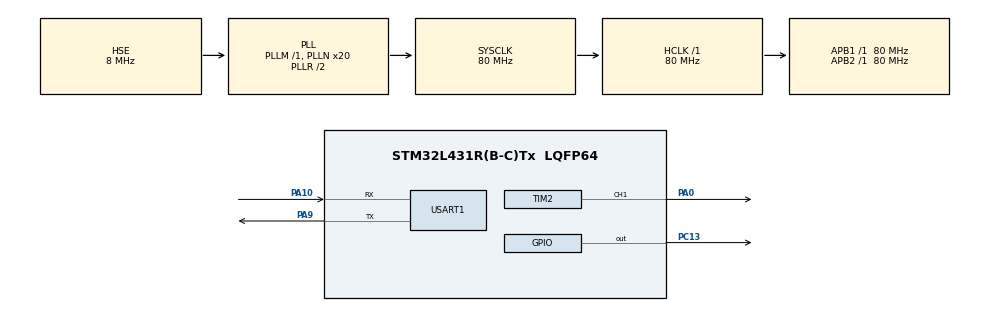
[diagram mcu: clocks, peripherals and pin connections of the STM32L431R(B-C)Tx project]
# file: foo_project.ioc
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IWDG.Prescaler=IWDG_PRESCALER_256
Mcu.Family=STM32L4
Mcu.Name=STM32L431R(B-C)Tx
Mcu.Package=LQFP64
NVIC.PriorityGroup=NVIC_PRIORITYGROUP_4
NVIC.USART1_IRQn=true\:1\:0\:true\:false\:true\:true\:true\:true
PA0.Signal=S_TIM2_CH1
PA10.Mode=Asynchronous
PA10.Signal=USART1_RX
PA13\ (JTMS-SWDIO).Mode=Serial_Wire
PA13\ (JTMS-SWDIO).Signal=SYS_JTMS-SWDIO
PA14\ (JTCK-SWCLK).Mode=Serial_Wire
PA14\ (JTCK-SWCLK).Signal=SYS_JTCK-SWCLK
PA9.Mode=Asynchronous
PA9.Signal=USART1_TX
PC13.Signal=GPIO_Output
ProjectManager.HeapSize=0x200
ProjectManager.StackSize=0x400
ProjectManager.TargetToolchain=STM32CubeIDE
RCC.ADCFreq_Value=64000000
RCC.AHBFreq_Value=80000000
RCC.APB1Freq_Value=80000000
RCC.APB1TimFreq_Value=80000000
RCC.APB2Freq_Value=80000000
RCC.APB2TimFreq_Value=80000000
RCC.CortexFreq_Value=80000000
RCC.HCLKFreq_Value=80000000
RCC.HSE_VALUE=8000000
RCC.HSI48_VALUE=48000000
RCC.HSI_VALUE=16000000
RCC.LSE_VALUE=32768
RCC.MSIAutoCalibration-AdvancedSettings=DISABLED
RCC.MSI_VALUE=4000000
RCC.PLLN=10
RCC.PLLSourceVirtual=RCC_PLLSOURCE_HSI
RCC.SYSCLKFreq_VALUE=80000000
RCC.SYSCLKSource=RCC_SYSCLKSOURCE_PLLCLK
RCC.VCOOutputFreq_Value=160000000
SH.S_TIM2_CH1.0=TIM2_CH1,PWM Generation1 CH1
TIM2.Channel-PWM\ Generation1\ CH1=TIM_CHANNEL_1
TIM2.CounterMode=TIM_COUNTERMODE_UP
TIM2.Period=999
TIM2.Prescaler=1
USART1.VirtualMode-Asynchronous=VM_ASYNC
VP_IWDG_VS_IWDG.Mode=IWDG_Activate
board=custom

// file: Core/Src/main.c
/* USER CODE BEGIN Header */
/**
 ******************************************************************************
 * @file           : main.c
 * @brief          : Main program body
 ******************************************************************************
 * @attention
 *
 * Copyright (c) 2024 STMicroelectronics.
 * All rights reserved.
 *
 * This software is licensed under terms that can be found in the LICENSE file
 * in the root directory of this software component.
 * If no LICENSE file comes with this software, it is provided AS-IS.
 *
 ******************************************************************************
 */
/* USER CODE END Header */
#include "main.h"

/* USER CODE BEGIN Includes */
#include "foo.h"
#include <string.h>
#include <stdlib.h>
#include "wdt.h"
#include "serial.h"
#include "task_list.h"
/* USER CODE END Includes */

/* USER CODE BEGIN PD */
#define HW_VERSION 	0x7d2
#define FW_VERSION 	0x12
#define PROT_VER	0x1000
#define WAIT_TOFF	(0x3E8 * 600)
#define FRAME_MAX_SIZE 2062
/* USER CODE END PD */

IWDG_HandleTypeDef hiwdg;

TIM_HandleTypeDef htim2;

UART_HandleTypeDef huart1;

/* USER CODE BEGIN PV */
static struct foo_device dev;
static struct task_queue serial_queue;
/* USER CODE END PV */

void SystemClock_Config(void);
static void MX_GPIO_Init(void);
static void MX_USART1_UART_Init(void);
static void MX_IWDG_Init(void);
static void MX_TIM2_Init(void);

/* USER CODE BEGIN 0 */

void uart_receive(struct serdev_device *dev, u8 *buf, u32 len) {
	struct task_struct *task = (struct task_struct *)buf;
	put_task_to_queue(&serial_queue, *task);
	serial_start_receiving(dev);
}

/* USER CODE END 0 */

int main(void)
{

  /* USER CODE BEGIN 1 */
	SystemInit();
	dev.serial.bus = &huart1;
	dev.serial.receive_buf = uart_receive;
	dev.button_trigger = 1;
	dev.firmware_version = FW_VERSION;
	dev.hardware_version = HW_VERSION;
	dev.protocol_version = PROT_VER;
	dev.watting_time_off = WAIT_TOFF;
	dev.max_led_current = 1000;
	dev.led_current = 0;
	get_serial_number(&dev);
  /* USER CODE END 1 */

  /* MCU Configuration--------------------------------------------------------*/

  /* Reset of all peripherals, Initializes the Flash interface and the Systick. */
  HAL_Init();

  /* Configure the system clock */
  SystemClock_Config();

  /* Initialize all configured peripherals */
  MX_GPIO_Init();
  MX_USART1_UART_Init();
  MX_IWDG_Init();
  MX_TIM2_Init();
  /* USER CODE BEGIN 2 */
  init_queue(&serial_queue, 5);
  serdev_device_register(&dev.serial);
  serial_start_receiving(&dev.serial);
	HAL_GPIO_WritePin(GPIOC, GPIO_PIN_13, GPIO_PIN_SET);
	watchdog_set_timeout(&hiwdg, TIMEOUT_16_SEC);
	pwm_init(&dev.led, &htim2, TIM_CHANNEL_1);

	pwm_set_frequency(&dev.led, 2000);
//	pwm_set_dutycycle(&dev.led, 1.24);

  /* USER CODE END 2 */

  /* Infinite loop */
	while (1) {

    /* USER CODE BEGIN 3 */
		if (!queue_is_empty(&serial_queue)) {
			handle_request(&dev, get_new_task(&serial_queue).buf);
		}
		ping_to_watchdog(&hiwdg);
//		HAL_GPIO_TogglePin(GPIOC, GPIO_PIN_13);
//		HAL_Delay(500);
	}
  /* USER CODE END 3 */
}

void SystemClock_Config(void)
{
  RCC_OscInitTypeDef RCC_OscInitStruct = {0};
  RCC_ClkInitTypeDef RCC_ClkInitStruct = {0};

  /** Configure the main internal regulator output voltage
  */
  if (HAL_PWREx_ControlVoltageScaling(PWR_REGULATOR_VOLTAGE_SCALE1) != HAL_OK)
  {
    Error_Handler();
  }

  /** Initializes the RCC Oscillators according to the specified parameters
  * in the RCC_OscInitTypeDef structure.
  */
  RCC_OscInitStruct.OscillatorType = RCC_OSCILLATORTYPE_LSI|RCC_OSCILLATORTYPE_HSE;
  RCC_OscInitStruct.HSEState = RCC_HSE_ON;
  RCC_OscInitStruct.LSIState = RCC_LSI_ON;
  RCC_OscInitStruct.PLL.PLLState = RCC_PLL_ON;
  RCC_OscInitStruct.PLL.PLLSource = RCC_PLLSOURCE_HSE;
  RCC_OscInitStruct.PLL.PLLM = 1;
  RCC_OscInitStruct.PLL.PLLN = 20;
  RCC_OscInitStruct.PLL.PLLP = RCC_PLLP_DIV7;
  RCC_OscInitStruct.PLL.PLLQ = RCC_PLLQ_DIV2;
  RCC_OscInitStruct.PLL.PLLR = RCC_PLLR_DIV2;
  if (HAL_RCC_OscConfig(&RCC_OscInitStruct) != HAL_OK)
  {
    Error_Handler();
  }

  /** Initializes the CPU, AHB and APB buses clocks
  */
  RCC_ClkInitStruct.ClockType = RCC_CLOCKTYPE_HCLK|RCC_CLOCKTYPE_SYSCLK
                              |RCC_CLOCKTYPE_PCLK1|RCC_CLOCKTYPE_PCLK2;
  RCC_ClkInitStruct.SYSCLKSource = RCC_SYSCLKSOURCE_PLLCLK;
  RCC_ClkInitStruct.AHBCLKDivider = RCC_SYSCLK_DIV1;
  RCC_ClkInitStruct.APB1CLKDivider = RCC_HCLK_DIV1;
  RCC_ClkInitStruct.APB2CLKDivider = RCC_HCLK_DIV1;

  if (HAL_RCC_ClockConfig(&RCC_ClkInitStruct, FLASH_LATENCY_4) != HAL_OK)
  {
    Error_Handler();
  }
}

static void MX_IWDG_Init(void)
{

  hiwdg.Instance = IWDG;
  hiwdg.Init.Prescaler = IWDG_PRESCALER_256;
  hiwdg.Init.Window = 4095;
  hiwdg.Init.Reload = 4095;
  if (HAL_IWDG_Init(&hiwdg) != HAL_OK)
  {
    Error_Handler();
  }

}

static void MX_TIM2_Init(void)
{

  TIM_MasterConfigTypeDef sMasterConfig = {0};
  TIM_OC_InitTypeDef sConfigOC = {0};

  htim2.Instance = TIM2;
  htim2.Init.Prescaler = 1;
  htim2.Init.CounterMode = TIM_COUNTERMODE_UP;
  htim2.Init.Period = 999;
  htim2.Init.ClockDivision = TIM_CLOCKDIVISION_DIV1;
  htim2.Init.AutoReloadPreload = TIM_AUTORELOAD_PRELOAD_DISABLE;
  if (HAL_TIM_PWM_Init(&htim2) != HAL_OK)
  {
    Error_Handler();
  }
  sMasterConfig.MasterOutputTrigger = TIM_TRGO_RESET;
  sMasterConfig.MasterSlaveMode = TIM_MASTERSLAVEMODE_DISABLE;
  if (HAL_TIMEx_MasterConfigSynchronization(&htim2, &sMasterConfig) != HAL_OK)
  {
    Error_Handler();
  }
  sConfigOC.OCMode = TIM_OCMODE_PWM1;
  sConfigOC.Pulse = 0;
  sConfigOC.OCPolarity = TIM_OCPOLARITY_HIGH;
  sConfigOC.OCFastMode = TIM_OCFAST_DISABLE;
  if (HAL_TIM_PWM_ConfigChannel(&htim2, &sConfigOC, TIM_CHANNEL_1) != HAL_OK)
  {
    Error_Handler();
  }
  HAL_TIM_MspPostInit(&htim2);

}

static void MX_USART1_UART_Init(void)
{

  huart1.Instance = USART1;
  huart1.Init.BaudRate = 115200;
  huart1.Init.WordLength = UART_WORDLENGTH_8B;
  huart1.Init.StopBits = UART_STOPBITS_1;
  huart1.Init.Parity = UART_PARITY_NONE;
  huart1.Init.Mode = UART_MODE_TX_RX;
  huart1.Init.HwFlowCtl = UART_HWCONTROL_NONE;
  huart1.Init.OverSampling = UART_OVERSAMPLING_16;
  huart1.Init.OneBitSampling = UART_ONE_BIT_SAMPLE_DISABLE;
  huart1.AdvancedInit.AdvFeatureInit = UART_ADVFEATURE_NO_INIT;
  if (HAL_UART_Init(&huart1) != HAL_OK)
  {
    Error_Handler();
  }

}

static void MX_GPIO_Init(void)
{
  GPIO_InitTypeDef GPIO_InitStruct = {0};

  /* GPIO Ports Clock Enable */
  __HAL_RCC_GPIOC_CLK_ENABLE();
  __HAL_RCC_GPIOH_CLK_ENABLE();
  __HAL_RCC_GPIOA_CLK_ENABLE();

  /*Configure GPIO pin Output Level */
  HAL_GPIO_WritePin(GPIOC, GPIO_PIN_13, GPIO_PIN_RESET);

  /*Configure GPIO pin : PC13 */
  GPIO_InitStruct.Pin = GPIO_PIN_13;
  GPIO_InitStruct.Mode = GPIO_MODE_OUTPUT_PP;
  GPIO_InitStruct.Pull = GPIO_NOPULL;
  GPIO_InitStruct.Speed = GPIO_SPEED_FREQ_LOW;
  HAL_GPIO_Init(GPIOC, &GPIO_InitStruct);

}

void Error_Handler(void)
{
	__disable_irq();
	while (1) {
	}
}
